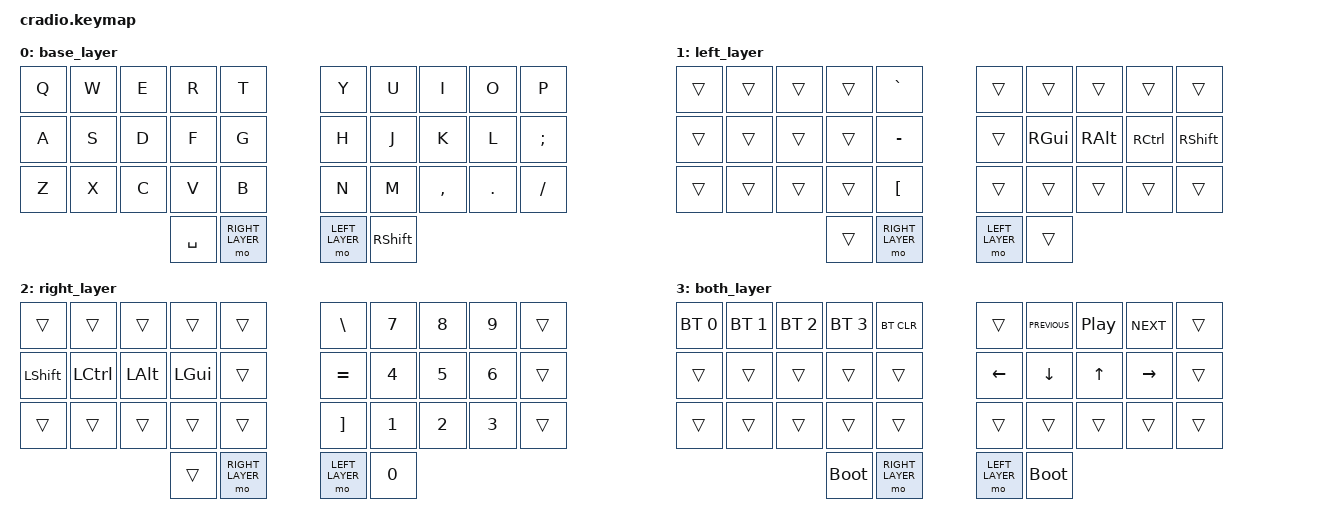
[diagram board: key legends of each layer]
#include <behaviors.dtsi>
#include <dt-bindings/zmk/keys.h>
#include <dt-bindings/zmk/bt.h>

#define BASE_LAYER 0
#define LEFT_LAYER 1
#define RIGHT_LAYER 2
#define BOTH_LAYER 3

/ {
  keymap {
    compatible = "zmk,keymap";

    base_layer {
      bindings = <
        &kp Q               &kp W               &kp E               &kp R               &kp T                   &kp Y               &kp U               &kp I               &kp O               &kp P
        &kp A               &kp S               &kp D               &kp F               &kp G                   &kp H               &kp J               &kp K               &kp L               &kp SEMICOLON
        &kp Z               &kp X               &kp C               &kp V               &kp B                   &kp N               &kp M               &kp COMMA           &kp PERIOD          &kp SLASH
                                                                    &kp SPACE           &mo RIGHT_LAYER         &mo LEFT_LAYER      &kp RIGHT_SHIFT
      >;
    };

    left_layer {
      bindings = <
        &trans              &trans              &trans              &trans              &kp GRAVE               &trans              &trans              &trans              &trans              &trans
        &trans              &trans              &trans              &trans              &kp MINUS               &trans              &kp RIGHT_GUI       &kp RIGHT_ALT       &kp RIGHT_CONTROL   &kp RIGHT_SHIFT
        &trans              &trans              &trans              &trans              &kp LEFT_BRACKET        &trans              &trans              &trans              &trans              &trans
                                                                    &trans              &mo RIGHT_LAYER         &mo LEFT_LAYER      &trans
      >;
    };

    right_layer {
      bindings = <
        &trans              &trans              &trans              &trans              &trans                  &kp BACKSLASH       &kp NUMBER_7        &kp NUMBER_8        &kp NUMBER_9        &trans
        &kp LEFT_SHIFT      &kp LEFT_CONTROL    &kp LEFT_ALT        &kp LEFT_GUI        &trans                  &kp EQUAL           &kp NUMBER_4        &kp NUMBER_5        &kp NUMBER_6        &trans
        &trans              &trans              &trans              &trans              &trans                  &kp RIGHT_BRACKET   &kp NUMBER_1        &kp NUMBER_2        &kp NUMBER_3        &trans
                                                                    &trans              &mo RIGHT_LAYER         &mo LEFT_LAYER      &kp NUMBER_0
      >;
    };

    both_layer {
      bindings = <
        &bt BT_SEL 0        &bt BT_SEL 1        &bt BT_SEL 2        &bt BT_SEL 3        &bt BT_CLR              &trans              &kp C_PREVIOUS      &kp C_PLAY_PAUSE    &kp C_NEXT          &trans
        &trans              &trans              &trans              &trans              &trans                  &kp LEFT_ARROW      &kp DOWN_ARROW      &kp UP_ARROW        &kp RIGHT_ARROW     &trans
        &trans              &trans              &trans              &trans              &trans                  &trans              &trans              &trans              &trans              &trans
                                                                    &bootloader         &mo RIGHT_LAYER         &mo LEFT_LAYER      &bootloader
      >;
    };
  };

  combos {
    compatible = "zmk,combos";

    // Left
    combo_tab {
      bindings = <&kp TAB>;
      key-positions = <1 2>;
      layers = <BASE_LAYER>;
      timeout-ms = <50>;
    };

    combo_escape {
      bindings = <&kp ESCAPE>;
      key-positions = <11 12>;
      layers = <BASE_LAYER>;
      timeout-ms = <50>;
    };

    // Right
    combo_return {
      bindings = <&kp RETURN>;
      key-positions = <7 8>;
      layers = <BASE_LAYER>;
      timeout-ms = <50>;
    };

    combo_backspace {
      bindings = <&kp BACKSPACE>;
      key-positions = <17 18>;
      layers = <BASE_LAYER>;
      timeout-ms = <50>;
    };
  };

  conditional_layers {
    compatible = "zmk,conditional-layers";

    both_layer {
      if-layers = <LEFT_LAYER RIGHT_LAYER>;
      then-layer = <BOTH_LAYER>;
    };
  };
};
